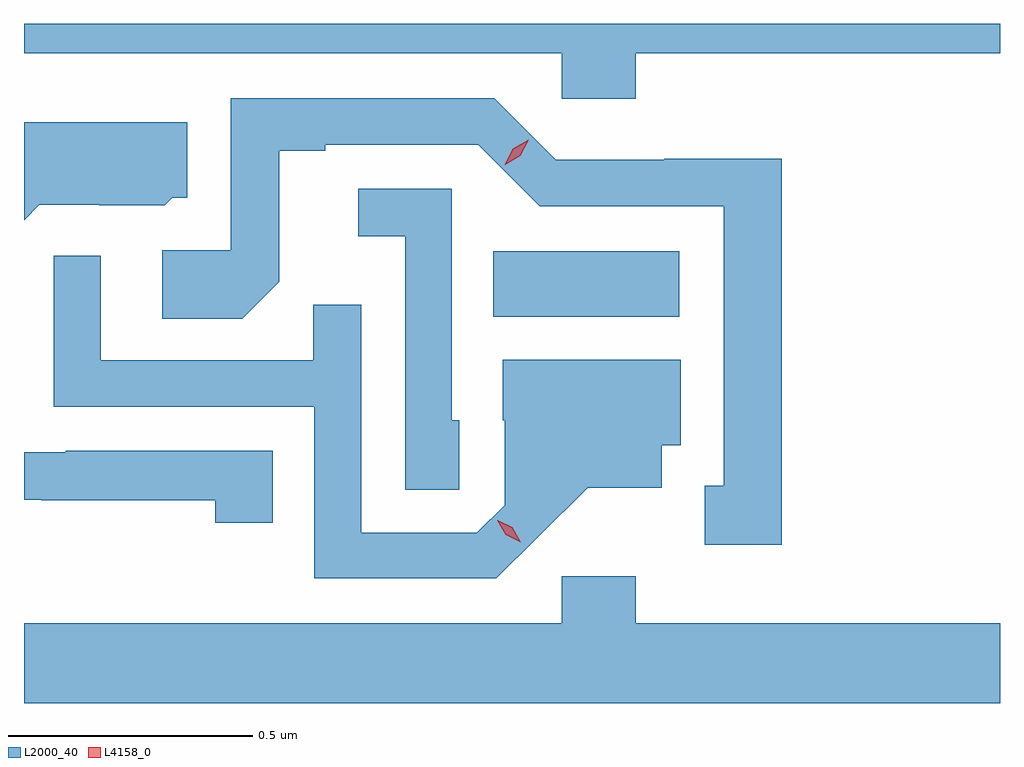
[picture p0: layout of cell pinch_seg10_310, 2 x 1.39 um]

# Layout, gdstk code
import gdstk
lib = gdstk.Library(unit=1e-6, precision=1e-09)
def R(c, l, rs):  # rectangles x0, y0, x1, y1
    for r in rs: c.add(gdstk.rectangle(r[:2], r[2:], *l))
def P(c, l, *ps):  # polygons
    for p in ps: c.add(gdstk.Polygon(p, *l))
L2000_40 = (2000, 40)
L4158_0 = (4158, 0)

pinch_seg10_310 = lib.new_cell('pinch_seg10_310')
R(pinch_seg10_310, L2000_40, [(492.346,1293.116,492.727,1293.25)])
P(pinch_seg10_310, L2000_40, [(492.638,1293.656),(493.384,1293.656),(493.384,1293.716),(491.384,1293.716),(491.384,1293.656),(492.486,1293.656),(492.486,1293.563),(492.638,1293.563)],
  [(492.937,1293.44),(492.696,1293.44),(492.696,1293.438),(492.474,1293.438),(492.348,1293.564),(491.808,1293.564),(491.808,1293.252),(491.667,1293.252),(491.667,1293.112),(491.831,1293.112),(491.907,1293.188),(491.907,1293.456),(492.001,1293.456),(492.001,1293.468),(492.315,1293.468),(492.441,1293.342),(492.818,1293.342),(492.818,1292.769),(492.779,1292.769),(492.779,1292.649),(492.937,1292.649)],
  [(491.415,1293.345),(491.538,1293.345),(491.538,1293.344),(491.672,1293.344),(491.688,1293.36),(491.719,1293.36),(491.719,1293.514),(491.384,1293.514),(491.384,1293.314)],
  [(492.276,1292.904),(492.261,1292.904),(492.261,1293.378),(492.069,1293.378),(492.069,1293.281),(492.165,1293.281),(492.165,1292.761),(492.276,1292.761)],
  [(492.436,1292.663),(492.539,1292.765),(492.691,1292.765),(492.691,1292.852),(492.73,1292.852),(492.73,1293.028),(492.365,1293.028),(492.365,1292.904),(492.369,1292.904),(492.369,1292.73),(492.312,1292.673),(492.075,1292.673),(492.075,1293.14),(491.977,1293.14),(491.977,1293.027),(491.541,1293.027),(491.541,1293.241),(491.445,1293.241),(491.445,1292.931),(491.979,1292.931),(491.979,1292.58),(492.352,1292.58)],
  [(491.894,1292.841),(491.47,1292.841),(491.47,1292.838),(491.384,1292.838),(491.384,1292.741),(491.419,1292.741),(491.419,1292.74),(491.776,1292.74),(491.776,1292.694),(491.894,1292.694)],
  [(493.384,1292.488),(492.638,1292.488),(492.638,1292.584),(492.486,1292.584),(492.486,1292.488),(491.384,1292.488),(491.384,1292.324),(493.384,1292.324)])
P(pinch_seg10_310, L4158_0, [(492.369,1293.427),(492.369,1293.427),(492.386,1293.46),(492.418,1293.479),(492.418,1293.479),(492.418,1293.479),(492.401,1293.446),(492.37,1293.427)],
  [(492.402,1292.654),(492.371,1292.669),(492.354,1292.699),(492.354,1292.699),(492.355,1292.699),(492.385,1292.684),(492.402,1292.654),(492.402,1292.654)])

lib.write_gds('pinch_seg10_310.gds')
